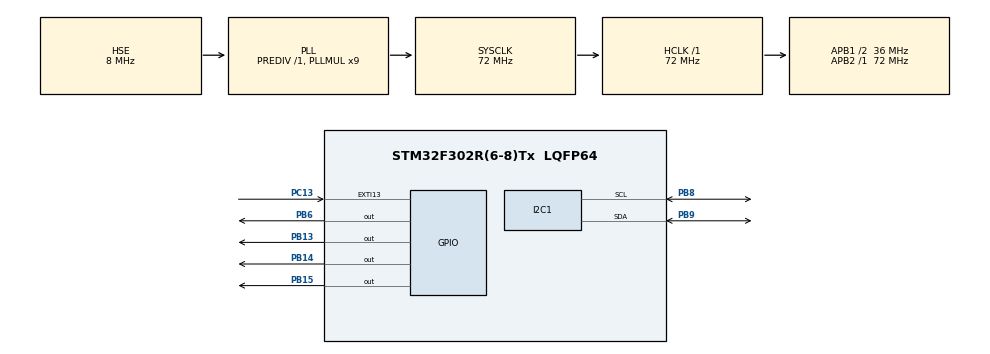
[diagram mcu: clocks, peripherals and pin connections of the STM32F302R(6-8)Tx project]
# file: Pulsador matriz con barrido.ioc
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Mcu.Family=STM32F3
Mcu.Name=STM32F302R(6-8)Tx
Mcu.Package=LQFP64
NVIC.PriorityGroup=NVIC_PRIORITYGROUP_0
PA13.Mode=Serial_Wire
PA13.Signal=SYS_JTMS-SWDIO
PA14.Mode=Serial_Wire
PA14.Signal=SYS_JTCK-SWCLK
PB13.Signal=GPIO_Output
PB14.Signal=GPIO_Output
PB15.Signal=GPIO_Output
PB6.Signal=GPIO_Output
PB8.Mode=I2C
PB8.Signal=I2C1_SCL
PB9.Mode=I2C
PB9.Signal=I2C1_SDA
PC13.Signal=GPXTI13
PF0-OSC_IN.Mode=HSE-External-Oscillator
PF0-OSC_IN.Signal=RCC_OSC_IN
PF1-OSC_OUT.Mode=HSE-External-Oscillator
PF1-OSC_OUT.Signal=RCC_OSC_OUT
ProjectManager.HeapSize=0x200
ProjectManager.StackSize=0x400
ProjectManager.TargetToolchain=STM32CubeIDE
RCC.AHBFreq_Value=72000000
RCC.APB1CLKDivider=RCC_HCLK_DIV2
RCC.APB1Freq_Value=36000000
RCC.APB1TimFreq_Value=72000000
RCC.APB2Freq_Value=72000000
RCC.APB2TimFreq_Value=72000000
RCC.CortexFreq_Value=72000000
RCC.HCLKFreq_Value=72000000
RCC.HSE_VALUE=8000000
RCC.HSI_VALUE=8000000
RCC.PLLM=8
RCC.PLLMUL=RCC_PLL_MUL9
RCC.PLLN=336
RCC.PLLP=RCC_PLLP_DIV4
RCC.PLLQ=7
RCC.PLLSourceVirtual=RCC_PLLSOURCE_HSE
RCC.SYSCLKFreq_VALUE=72000000
RCC.SYSCLKSourceVirtual=RCC_SYSCLKSOURCE_PLLCLK
RCC.USBFreq_Value=72000000
board=NUCLEO-F302R8

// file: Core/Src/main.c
/* USER CODE BEGIN Header */
/**
  ******************************************************************************
  * @file           : main.c
  * @brief          : Main program body
  ******************************************************************************
  * @attention
  *
  * Copyright (c) 2023 STMicroelectronics.
  * All rights reserved.
  *
  * This software is licensed under terms that can be found in the LICENSE file
  * in the root directory of this software component.
  * If no LICENSE file comes with this software, it is provided AS-IS.
  *
  ******************************************************************************
  */
/* USER CODE END Header */
#include "main.h"

/* USER CODE BEGIN Includes */
#include "stdbool.h"
#include "max_matrix_stm32.h"
#include "i2c-lcd.h"
/* USER CODE END Includes */

I2C_HandleTypeDef hi2c1;

/* USER CODE BEGIN PV */
int count =0;
/* USER CODE END PV */

void SystemClock_Config(void);
static void MX_GPIO_Init(void);
static void MX_I2C1_Init(void);

int main(void)
{
  /* USER CODE BEGIN 1 */

	GPIO_PinState estpul;
	bool ctrl = false;
	bool ctrll = true;
  /* USER CODE END 1 */

  /* MCU Configuration--------------------------------------------------------*/

  /* Reset of all peripherals, Initializes the Flash interface and the Systick. */
  HAL_Init();

  /* Configure the system clock */
  SystemClock_Config();

  /* Initialize all configured peripherals */
  MX_GPIO_Init();
  MX_I2C1_Init();
  /* USER CODE BEGIN 2 */
  max_init (0x01);
  lcd_init();
  //	write_char ('A',4);  // write 'A' on 4th display
   	//write_char ('2',3);  // write '2' on 3rd display
   	//write_char (3,2);  // print heart on 2nd display
   	//write_char (0b01111111,1);  // write 'm'on st display

  /* USER CODE END 2 */

  /* Infinite loop */
  while (1)
  {

    /* USER CODE BEGIN 3 */
	  estpul = HAL_GPIO_ReadPin(GPIOC, GPIO_PIN_13);

	  	if (estpul && !ctrl && ctrll){

	  		ctrl = true;
	  		HAL_Delay(50);
	  	}
	  	else if (!estpul && ctrl){

	   scroll_string ((uint8_t *) "Maria I love you   ", 150, left);
	   max_clear();

	   for (int i = 0; i < 5; i++) {
	   	  		    scroll_char(0b01111111, 150, right);
	   	  		}
	   max_clear();
	   //scroll_char (0b01111111 , 150, right); // right - left
	  	HAL_GPIO_TogglePin(GPIOB, GPIO_PIN_13);
	  	ctrll = false ;
	  	ctrl = false ;
	  	HAL_Delay(5);
lcd_enviar("Pero resetea Rpt", 0, 0);
lcd_enviar("md", 1, 0);
HAL_Delay(2000);
//lcd_clear();
	  //for (int i = 0; i < 5; i++) {
	    	//lcd_barrido("Compai resetea !! ");
	    	  		// lcd_clear();
	    	//count++;

	    		  		   //  lcd_enviar_int(count, 1, 0);
	    		  		   //  HAL_Delay(1000);
	    		  		   //lcd_clear();
	  	   	  //	}

	  	}
	  //scroll_char (0b01111111  , 200, right); // right - left

	  	  		//scroll_string ((uint8_t *) "Angel Gabrir 2021-0311 "  , 150, left);
  }
  /* USER CODE END 3 */
}

void SystemClock_Config(void)
{
  RCC_OscInitTypeDef RCC_OscInitStruct = {0};
  RCC_ClkInitTypeDef RCC_ClkInitStruct = {0};
  RCC_PeriphCLKInitTypeDef PeriphClkInit = {0};

  /** Initializes the RCC Oscillators according to the specified parameters
  * in the RCC_OscInitTypeDef structure.
  */
  RCC_OscInitStruct.OscillatorType = RCC_OSCILLATORTYPE_HSI|RCC_OSCILLATORTYPE_HSE;
  RCC_OscInitStruct.HSEState = RCC_HSE_ON;
  RCC_OscInitStruct.HSEPredivValue = RCC_HSE_PREDIV_DIV1;
  RCC_OscInitStruct.HSIState = RCC_HSI_ON;
  RCC_OscInitStruct.HSICalibrationValue = RCC_HSICALIBRATION_DEFAULT;
  RCC_OscInitStruct.PLL.PLLState = RCC_PLL_ON;
  RCC_OscInitStruct.PLL.PLLSource = RCC_PLLSOURCE_HSE;
  RCC_OscInitStruct.PLL.PLLMUL = RCC_PLL_MUL9;
  if (HAL_RCC_OscConfig(&RCC_OscInitStruct) != HAL_OK)
  {
    Error_Handler();
  }

  /** Initializes the CPU, AHB and APB buses clocks
  */
  RCC_ClkInitStruct.ClockType = RCC_CLOCKTYPE_HCLK|RCC_CLOCKTYPE_SYSCLK
                              |RCC_CLOCKTYPE_PCLK1|RCC_CLOCKTYPE_PCLK2;
  RCC_ClkInitStruct.SYSCLKSource = RCC_SYSCLKSOURCE_PLLCLK;
  RCC_ClkInitStruct.AHBCLKDivider = RCC_SYSCLK_DIV1;
  RCC_ClkInitStruct.APB1CLKDivider = RCC_HCLK_DIV2;
  RCC_ClkInitStruct.APB2CLKDivider = RCC_HCLK_DIV1;

  if (HAL_RCC_ClockConfig(&RCC_ClkInitStruct, FLASH_LATENCY_2) != HAL_OK)
  {
    Error_Handler();
  }
  PeriphClkInit.PeriphClockSelection = RCC_PERIPHCLK_I2C1;
  PeriphClkInit.I2c1ClockSelection = RCC_I2C1CLKSOURCE_HSI;
  if (HAL_RCCEx_PeriphCLKConfig(&PeriphClkInit) != HAL_OK)
  {
    Error_Handler();
  }
}

static void MX_I2C1_Init(void)
{

  hi2c1.Instance = I2C1;
  hi2c1.Init.Timing = 0x2000090E;
  hi2c1.Init.OwnAddress1 = 0;
  hi2c1.Init.AddressingMode = I2C_ADDRESSINGMODE_7BIT;
  hi2c1.Init.DualAddressMode = I2C_DUALADDRESS_DISABLE;
  hi2c1.Init.OwnAddress2 = 0;
  hi2c1.Init.OwnAddress2Masks = I2C_OA2_NOMASK;
  hi2c1.Init.GeneralCallMode = I2C_GENERALCALL_DISABLE;
  hi2c1.Init.NoStretchMode = I2C_NOSTRETCH_DISABLE;
  if (HAL_I2C_Init(&hi2c1) != HAL_OK)
  {
    Error_Handler();
  }

  /** Configure Analogue filter
  */
  if (HAL_I2CEx_ConfigAnalogFilter(&hi2c1, I2C_ANALOGFILTER_ENABLE) != HAL_OK)
  {
    Error_Handler();
  }

  /** Configure Digital filter
  */
  if (HAL_I2CEx_ConfigDigitalFilter(&hi2c1, 0) != HAL_OK)
  {
    Error_Handler();
  }

}

static void MX_GPIO_Init(void)
{
  GPIO_InitTypeDef GPIO_InitStruct = {0};

  /* GPIO Ports Clock Enable */
  __HAL_RCC_GPIOC_CLK_ENABLE();
  __HAL_RCC_GPIOF_CLK_ENABLE();
  __HAL_RCC_GPIOB_CLK_ENABLE();
  __HAL_RCC_GPIOA_CLK_ENABLE();

  /*Configure GPIO pin Output Level */
  HAL_GPIO_WritePin(GPIOB, GPIO_PIN_13|GPIO_PIN_14|GPIO_PIN_15|GPIO_PIN_6, GPIO_PIN_RESET);

  /*Configure GPIO pin : PC13 */
  GPIO_InitStruct.Pin = GPIO_PIN_13;
  GPIO_InitStruct.Mode = GPIO_MODE_IT_RISING;
  GPIO_InitStruct.Pull = GPIO_NOPULL;
  HAL_GPIO_Init(GPIOC, &GPIO_InitStruct);

  /*Configure GPIO pins : PB13 PB14 PB15 PB6 */
  GPIO_InitStruct.Pin = GPIO_PIN_13|GPIO_PIN_14|GPIO_PIN_15|GPIO_PIN_6;
  GPIO_InitStruct.Mode = GPIO_MODE_OUTPUT_PP;
  GPIO_InitStruct.Pull = GPIO_NOPULL;
  GPIO_InitStruct.Speed = GPIO_SPEED_FREQ_LOW;
  HAL_GPIO_Init(GPIOB, &GPIO_InitStruct);

}

void Error_Handler(void)
{
  __disable_irq();
  while (1)
  {
  }
}
